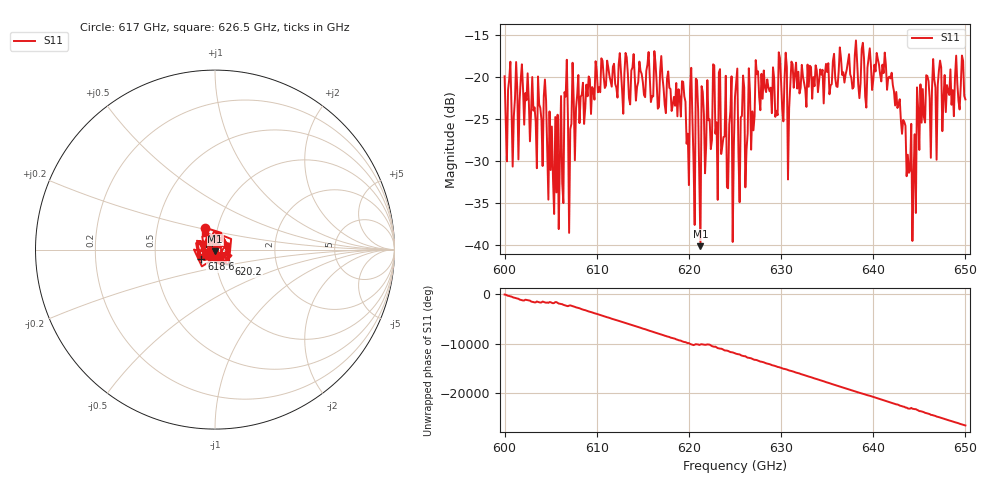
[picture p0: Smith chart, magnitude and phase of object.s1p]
!Created with skrf (http://scikit-rf.org).
# GHz S MA R 50.0
!freq magS11 angS11
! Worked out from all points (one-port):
!   401 points, 600 GHz to 650 GHz, reference 50 ohm
!   lowest |S11| = -40.1 dB at 621.2 GHz (marker M1), VSWR 1.02, Z = 50.2 - j0.974 ohm
!   |S11| at or under -10 dB: start of sweep to end of sweep
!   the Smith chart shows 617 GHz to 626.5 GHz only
!   S11 on the Smith chart (normalised r, x): 617 GHz: 0.87, +0.22; 618.6 GHz: 0.85, -0.09; 620.2 GHz: 1.15, -0.19; 626.5 GHz: 0.88, +0.18
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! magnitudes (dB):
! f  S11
! 600 GHz  -19.9
! 604.2 GHz  -22.3
! 605.6 GHz  -33.7
! 606.1 GHz  -22.3
! 606.2 GHz  -32.6
! 606.6 GHz  -22.3
! 607.1 GHz  -26.2
! 608.2 GHz  -22.4
! 612.5 GHz  -17.2
! 617 GHz  -17.5
! 618.6 GHz  -20.7
! 618.8 GHz  -24.7
! 620.2 GHz  -18.9
! 621.2 GHz  -40.1
! 622.8 GHz  -18.6
! 624 GHz  -19.9
! 625 GHz  -22.4
! 626.5 GHz  -19.0
! 627.5 GHz  -19.3
! 630.9 GHz  -23.8
! 631.2 GHz  -18.5
! 637.5 GHz  -19.7
! 641.5 GHz  -21.5
! 643.8 GHz  -29.3
! 644.4 GHz  -31.8
! 645 GHz  -28.7
! 645.9 GHz  -19.9
! 650 GHz  -22.7
